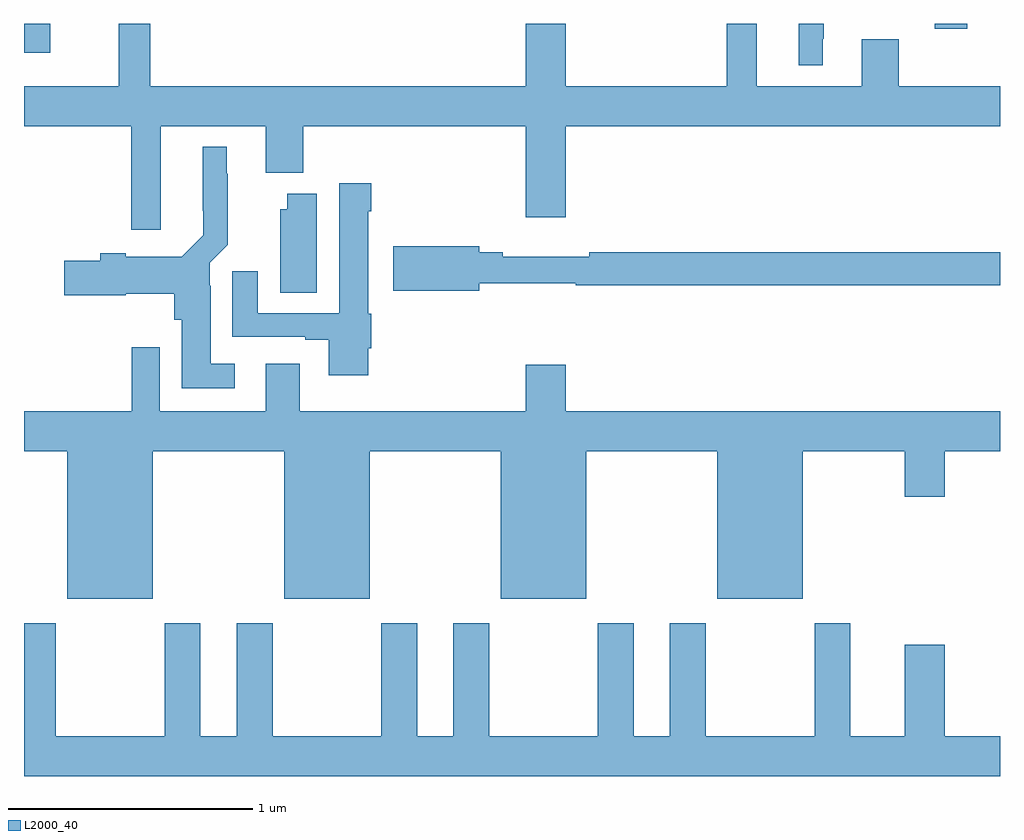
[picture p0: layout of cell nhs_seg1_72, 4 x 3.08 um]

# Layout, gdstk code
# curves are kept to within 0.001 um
import gdstk
lib = gdstk.Library(unit=1e-6, precision=1e-09)
def R(c, l, rs):  # rectangles x0, y0, x1, y1
    for r in rs: c.add(gdstk.rectangle(r[:2], r[2:], *l))
def P(c, l, *ps):  # polygons
    for p in ps: c.add(gdstk.Polygon(p, *l))
L2000_40 = (2000, 40)

nhs_seg1_72 = lib.new_cell('nhs_seg1_72')
R(nhs_seg1_72, L2000_40, [(115,504.081,115.108,504.199), (118.733,504.18,118.865,504.199)])
P(nhs_seg1_72, L2000_40, [(118.273,504.139),(118.277,504.139),(118.277,504.199),(118.175,504.199),(118.175,504.029),(118.273,504.029)],
  [(115.561,503.78),(115.991,503.78),(115.991,503.588),(116.144,503.588),(116.144,503.78),(117.056,503.78),(117.056,503.406),(117.22,503.406),(117.22,503.78),(119,503.78),(119,503.944),(118.586,503.944),(118.586,504.136),(118.433,504.136),(118.433,503.944),(118.003,503.944),(118.003,504.199),(117.881,504.199),(117.881,503.944),(117.22,503.944),(117.22,504.199),(117.056,504.199),(117.056,503.944),(115.517,503.944),(115.517,504.199),(115.389,504.199),(115.389,503.944),(115,503.944),(115,503.78),(115.439,503.78),(115.439,503.355),(115.561,503.355)],
  [(115.864,502.807),(115.765,502.807),(115.765,503.126),(115.761,503.126),(115.761,503.22),(115.835,503.294),(115.835,503.585),(115.831,503.585),(115.831,503.695),(115.733,503.695),(115.734,503.332),(115.647,503.245),(115.417,503.245),(115.417,503.258),(115.313,503.258),(115.313,503.228),(115.164,503.228),(115.164,503.086),(115.417,503.086),(115.417,503.093),(115.616,503.093),(115.616,502.986),(115.646,502.986),(115.646,502.706),(115.864,502.706)],
  [(116.41,502.87),(116.423,502.87),(116.423,503.01),(116.41,503.01),(116.41,503.432),(116.423,503.432),(116.423,503.545),(116.291,503.545),(116.291,503.013),(115.957,503.013),(115.957,503.185),(115.853,503.185),(115.853,502.917),(116.153,502.917),(116.153,502.905),(116.249,502.905),(116.249,502.758),(116.41,502.758)],
  [(116.2,503.503),(116.078,503.503),(116.078,503.439),(116.051,503.439),(116.051,503.098),(116.2,503.098)],
  [(116.866,503.136),(117.262,503.136),(117.262,503.128),(119,503.128),(119,503.264),(117.316,503.264),(117.316,503.245),(116.962,503.245),(116.962,503.264),(116.866,503.264),(116.866,503.288),(116.514,503.288),(116.514,503.105),(116.866,503.105)],
  [(115.528,502.448),(116.066,502.448),(116.066,501.842),(116.416,501.842),(116.416,502.448),(116.954,502.448),(116.954,501.842),(117.304,501.842),(117.304,502.448),(117.842,502.448),(117.842,501.842),(118.192,501.842),(118.192,502.448),(118.61,502.448),(118.61,502.26),(118.774,502.26),(118.774,502.448),(119,502.448),(119,502.612),(117.22,502.612),(117.22,502.801),(117.056,502.801),(117.056,502.612),(116.131,502.612),(116.131,502.807),(115.991,502.807),(115.991,502.612),(115.557,502.612),(115.557,502.873),(115.441,502.873),(115.441,502.612),(115,502.612),(115,502.448),(115.178,502.448),(115.178,501.842),(115.528,501.842)],
  [(119,501.28),(118.774,501.28),(118.774,501.655),(118.61,501.655),(118.61,501.28),(118.387,501.28),(118.387,501.742),(118.24,501.742),(118.24,501.28),(117.795,501.28),(117.795,501.742),(117.647,501.742),(117.647,501.28),(117.499,501.28),(117.499,501.742),(117.352,501.742),(117.352,501.28),(116.907,501.28),(116.907,501.742),(116.759,501.742),(116.759,501.28),(116.611,501.28),(116.611,501.742),(116.464,501.742),(116.464,501.28),(116.019,501.28),(116.019,501.742),(115.871,501.742),(115.871,501.28),(115.723,501.28),(115.723,501.742),(115.576,501.742),(115.576,501.28),(115.131,501.28),(115.131,501.742),(115,501.742),(115,501.116),(119,501.116)])

lib.write_gds('nhs_seg1_72.gds')
